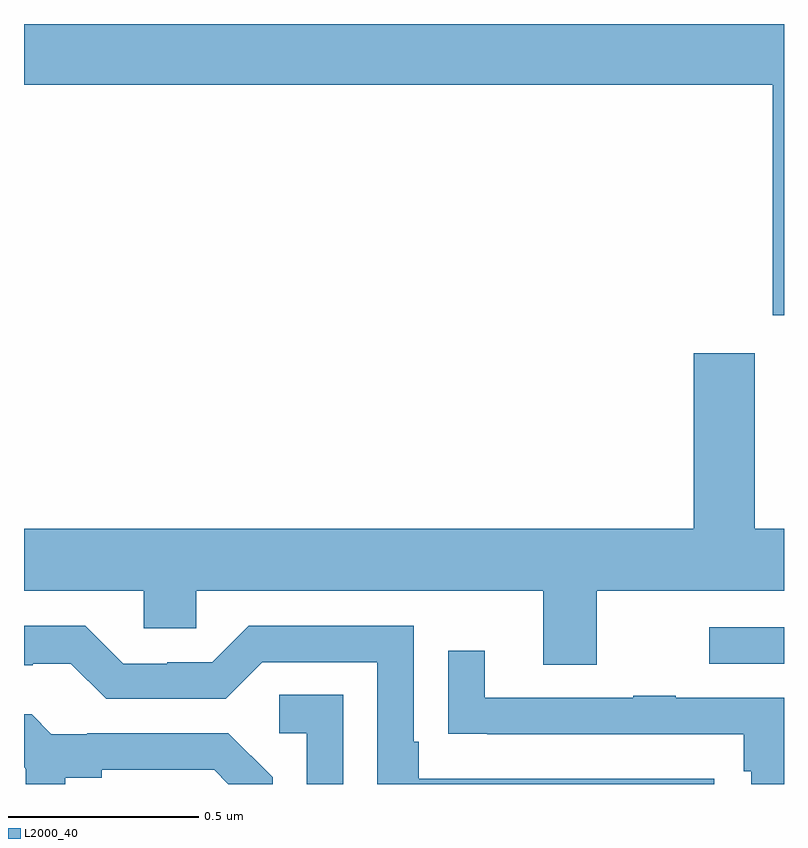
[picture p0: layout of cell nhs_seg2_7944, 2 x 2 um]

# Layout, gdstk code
import gdstk
lib = gdstk.Library(unit=1e-6, precision=1e-09)
def R(c, l, rs):  # rectangles x0, y0, x1, y1
    for r in rs: c.add(gdstk.rectangle(r[:2], r[2:], *l))
def P(c, l, *ps):  # polygons
    for p in ps: c.add(gdstk.Polygon(p, *l))
L2000_40 = (2000, 40)

nhs_seg2_7944 = lib.new_cell('nhs_seg2_7944')
R(nhs_seg2_7944, L2000_40, [(211.803,642.117,212,642.213)])
P(nhs_seg2_7944, L2000_40, [(212,643.8),(210,643.8),(210,643.64),(211.97,643.64),(211.97,643.034),(212,643.034)],
  [(211.507,642.308),(212,642.308),(212,642.472),(211.923,642.472),(211.923,642.934),(211.763,642.934),(211.763,642.472),(210,642.472),(210,642.308),(210.315,642.308),(210.315,642.21),(210.453,642.21),(210.453,642.308),(211.367,642.308),(211.367,642.114),(211.507,642.114)],
  [(211.816,641.814),(211.039,641.814),(211.039,641.911),(211.026,641.911),(211.026,642.216),(210.591,642.216),(210.495,642.12),(210.377,642.12),(210.377,642.117),(210.261,642.117),(210.161,642.217),(210,642.217),(210,642.113),(210.023,642.113),(210.023,642.117),(210.123,642.117),(210.216,642.024),(210.531,642.024),(210.627,642.12),(210.93,642.12),(210.93,641.8),(211.816,641.8)],
  [(212,642.027),(211.715,642.027),(211.715,642.032),(211.603,642.032),(211.603,642.027),(211.213,642.027),(211.213,642.151),(211.117,642.151),(211.117,641.932),(211.219,641.932),(211.219,641.931),(211.894,641.931),(211.894,641.834),(211.914,641.834),(211.914,641.8),(212,641.8)],
  [(210.84,642.035),(210.672,642.035),(210.672,641.934),(210.744,641.934),(210.744,641.8),(210.84,641.8)],
  [(210.109,641.816),(210.205,641.816),(210.205,641.838),(210.5,641.838),(210.538,641.8),(210.654,641.8),(210.654,641.818),(210.538,641.934),(210.166,641.934),(210.166,641.931),(210.072,641.931),(210.02,641.983),(210,641.983),(210,641.844),(210.005,641.839),(210.005,641.8),(210.109,641.8)])

lib.write_gds('nhs_seg2_7944.gds')
